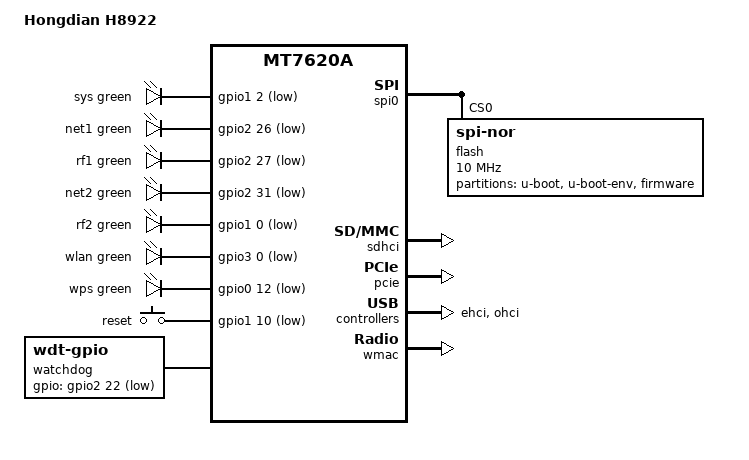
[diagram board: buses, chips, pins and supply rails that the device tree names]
#include "mt7620a.dtsi"

#include <dt-bindings/gpio/gpio.h>
#include <dt-bindings/input/input.h>
#include <dt-bindings/leds/common.h>

/ {
	compatible = "hongdian,h8922", "ralink,mt7620a-soc";
	model = "Hongdian H8922";

	chosen {
		bootargs = "console=ttyS0,115200";
	};

	leds {
		compatible = "gpio-leds";

		sys {
			gpios = <&gpio1 2 GPIO_ACTIVE_LOW>;
			color = <LED_COLOR_ID_GREEN>;
			function = LED_FUNCTION_POWER;
			default-state = "on";
		};

		net1 {
			gpios = <&gpio2 26 GPIO_ACTIVE_LOW>;
			color = <LED_COLOR_ID_GREEN>;
			function = LED_FUNCTION_MOBILE;
			function-enumerator = <1>;
		};

		rf1 {
			gpios = <&gpio2 27 GPIO_ACTIVE_LOW>;
			color = <LED_COLOR_ID_GREEN>;
			function = "rf";
			function-enumerator = <1>;
		};

		net2 {
			gpios = <&gpio2 31 GPIO_ACTIVE_LOW>;
			color = <LED_COLOR_ID_GREEN>;
			function = LED_FUNCTION_MOBILE;
			function-enumerator = <2>;
		};

		rf2 {
			gpios = <&gpio1 0 GPIO_ACTIVE_LOW>;
			color = <LED_COLOR_ID_GREEN>;
			function = "rf";
			function-enumerator = <2>;
		};

		wlan {
			gpios = <&gpio3 0 GPIO_ACTIVE_LOW>;
			color = <LED_COLOR_ID_GREEN>;
			function = LED_FUNCTION_WLAN;
			linux,default-trigger = "phy0tpt";
		};

		wps {
			gpios = <&gpio0 12 GPIO_ACTIVE_LOW>;
			color = <LED_COLOR_ID_GREEN>;
			function = LED_FUNCTION_WPS;
		};
	};

	keys {
		compatible = "gpio-keys";

		reset {
			label = "reset";
			gpios = <&gpio1 10 GPIO_ACTIVE_LOW>;
			linux,code = <KEY_RESTART>;
		};
	};

	watchdog {
		compatible = "linux,wdt-gpio";

		gpios = <&gpio2 22 GPIO_ACTIVE_LOW>;
		hw_algo = "toggle";
		hw_margin_ms = <600>;
		always-running;
	};
};

&watchdog {
	status = "disabled";
};

&gpio1 {
	status = "okay";
};

&gpio2 {
	status = "okay";
};

&gpio3 {
	status = "okay";
};

&spi0 {
	status = "okay";

	flash@0 {
		compatible = "jedec,spi-nor";
		reg = <0>;
		spi-max-frequency = <10000000>;

		partitions {
			compatible = "fixed-partitions";
			#address-cells = <1>;
			#size-cells = <1>;

			partition@0 {
				label = "u-boot";
				reg = <0x0 0x2f000>;
				read-only;
			};

			partition@2f000 {
				label = "u-boot-env";
				reg = <0x2f000 0x1000>;
				read-only;
			};

			partition@30000 {
				compatible = "denx,uimage";
				label = "firmware";
				reg = <0x30000 0xffd000>;
			};
		};
	};
};

&state_default {
	gpio {
		groups = "wled", "rgmii1", "rgmii2";
		function = "gpio";
	};
};

&ethernet {
	pinctrl-names = "default";
	pinctrl-0 = <&ephy_pins>;

	mediatek,portmap = "llllw";
};

&sdhci {
	status = "okay";
};

&pcie {
	status = "okay";
};

&ehci {
	status = "okay";
};

&ohci {
	status = "okay";
};

&wmac {
	ralink,eeprom = "mt7620a.eeprom";
};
